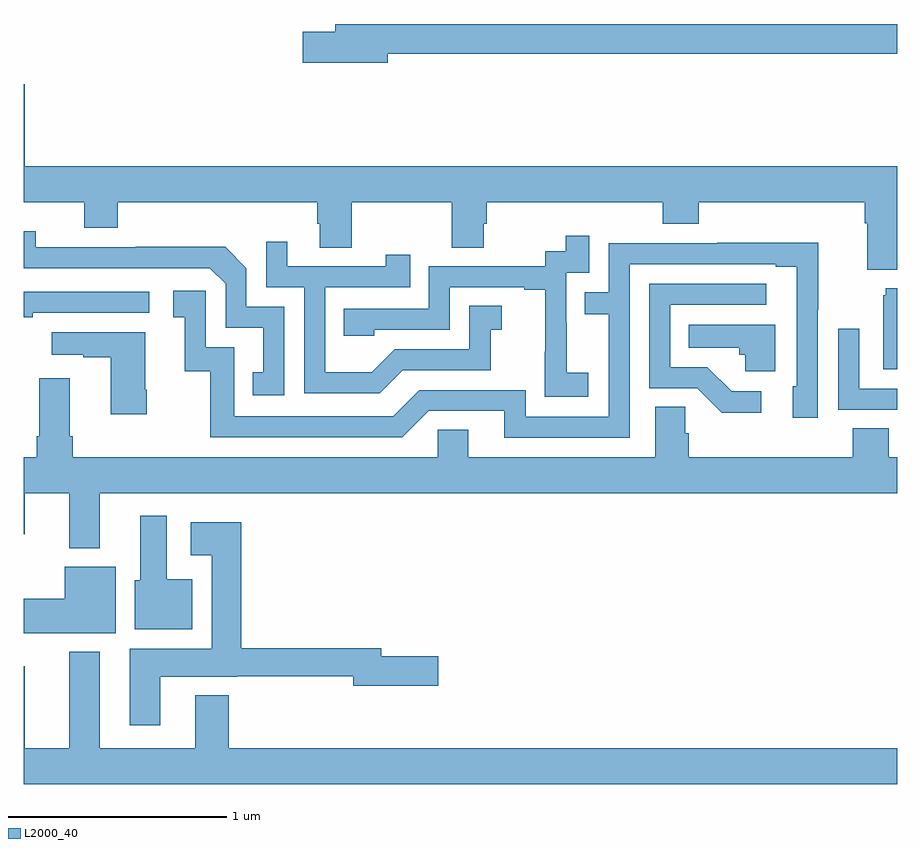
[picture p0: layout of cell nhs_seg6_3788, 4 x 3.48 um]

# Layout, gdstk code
import gdstk
lib = gdstk.Library(unit=1e-6, precision=1e-09)
def P(c, l, *ps):  # polygons
    for p in ps: c.add(gdstk.Polygon(p, *l))
L2000_40 = (2000, 40)

nhs_seg6_3788 = lib.new_cell('nhs_seg6_3788')
P(nhs_seg6_3788, L2000_40, [(334.666,997.3),(337,997.3),(337,997.436),(334.427,997.436),(334.427,997.4),(334.278,997.4),(334.278,997.258),(334.666,997.258)],
  [(337,996.784),(333.004,996.784),(333.004,997.159),(333,997.159),(333,996.62),(333.278,996.62),(333.278,996.503),(333.431,996.503),(333.431,996.62),(334.343,996.62),(334.343,996.522),(334.355,996.522),(334.355,996.412),(334.503,996.412),(334.503,996.62),(334.96,996.62),(334.96,996.412),(335.107,996.412),(335.107,996.522),(335.12,996.522),(335.12,996.62),(335.927,996.62),(335.927,996.521),(336.092,996.521),(336.092,996.62),(336.851,996.62),(336.851,996.524),(336.863,996.524),(336.863,996.311),(337,996.311)],
  [(334.194,996.141),(334.02,996.141),(334.02,996.318),(333.922,996.416),(333.514,996.416),(333.514,996.414),(333.054,996.414),(333.054,996.487),(333,996.487),(333,996.318),(333.852,996.318),(333.924,996.246),(333.924,996.045),(334.097,996.045),(334.097,995.841),(334.048,995.841),(334.048,995.736),(334.194,995.736)],
  [(335.584,995.839),(335.486,995.839),(335.486,996.068),(335.484,996.068),(335.484,996.297),(335.589,996.297),(335.589,996.466),(335.481,996.466),(335.481,996.396),(335.388,996.396),(335.388,996.327),(334.854,996.327),(334.854,996.132),(334.465,996.132),(334.465,996.009),(334.605,996.009),(334.605,996.036),(334.95,996.036),(334.95,996.231),(335.291,996.231),(335.291,996.219),(335.387,996.219),(335.387,995.935),(335.386,995.935),(335.386,995.729),(335.584,995.729)],
  [(334.735,995.85),(335.139,995.85),(335.139,996.035),(335.188,996.035),(335.188,996.145),(335.04,996.145),(335.04,995.946),(334.698,995.946),(334.594,995.842),(334.38,995.842),(334.38,996.231),(334.769,996.231),(334.769,996.379),(334.658,996.379),(334.658,996.327),(334.207,996.327),(334.207,996.439),(334.11,996.439),(334.11,996.231),(334.284,996.231),(334.284,995.745),(334.63,995.745)],
  [(335.775,996.336),(336.443,996.336),(336.443,996.324),(336.54,996.324),(336.54,995.778),(336.521,995.778),(336.521,995.634),(336.636,995.634),(336.636,996.127),(336.639,996.127),(336.639,996.434),(336.175,996.434),(336.175,996.432),(335.679,996.432),(335.679,996.207),(335.569,996.207),(335.569,996.106),(335.679,996.106),(335.679,995.637),(335.298,995.637),(335.298,995.76),(334.812,995.76),(334.692,995.64),(333.963,995.64),(333.963,995.955),(333.834,995.955),(333.834,996.214),(333.684,996.214),(333.684,996.093),(333.737,996.093),(333.737,995.847),(333.855,995.847),(333.855,995.544),(334.734,995.544),(334.854,995.664),(335.201,995.664),(335.201,995.541),(335.775,995.541)],
  [(336.376,995.754),(336.241,995.754),(336.13,995.865),(335.961,995.865),(335.961,996.15),(336.4,996.15),(336.4,996.246),(335.865,996.246),(335.865,995.769),(336.084,995.769),(336.197,995.657),(336.376,995.657)],
  [(337,996.226),(336.947,996.226),(336.947,996.195),(336.935,996.195),(336.935,995.855),(337,995.855)],
  [(333.041,996.114),(333.574,996.114),(333.574,996.21),(333,996.21),(333,996.094),(333.041,996.094)],
  [(336.442,996.058),(336.046,996.058),(336.046,995.954),(336.277,995.954),(336.277,995.922),(336.303,995.922),(336.303,995.846),(336.442,995.846)],
  [(337,995.766),(336.825,995.766),(336.825,996.04),(336.729,996.04),(336.729,995.67),(337,995.67)],
  [(333.564,995.761),(333.556,995.761),(333.556,996.025),(333.129,996.025),(333.129,995.921),(333.272,995.921),(333.272,995.911),(333.398,995.911),(333.398,995.649),(333.564,995.649)],
  [(333.349,995.288),(337,995.288),(337,995.452),(336.962,995.452),(336.962,995.585),(336.797,995.585),(336.797,995.452),(336.044,995.452),(336.044,995.561),(336.03,995.561),(336.03,995.684),(335.891,995.684),(335.891,995.452),(335.035,995.452),(335.035,995.579),(334.896,995.579),(334.896,995.452),(333.224,995.452),(333.224,995.548),(333.211,995.548),(333.211,995.815),(333.071,995.815),(333.071,995.548),(333.059,995.548),(333.059,995.452),(333,995.452),(333,995.1),(333.004,995.1),(333.004,995.288),(333.209,995.288),(333.209,995.036),(333.349,995.036)],
  [(333.772,994.894),(333.655,994.894),(333.655,995.185),(333.533,995.185),(333.533,994.89),(333.509,994.89),(333.509,994.664),(333.772,994.664)],
  [(333.625,994.448),(333.978,994.448),(333.978,994.449),(334.508,994.449),(334.508,994.406),(334.897,994.406),(334.897,994.541),(334.636,994.541),(334.636,994.577),(333.995,994.577),(333.995,995.155),(333.765,995.155),(333.765,995.003),(333.86,995.003),(333.86,994.576),(333.485,994.576),(333.485,994.224),(333.625,994.224)],
  [(333.421,994.951),(333.188,994.951),(333.188,994.804),(333,994.804),(333,994.646),(333.421,994.646)],
  [(333.785,994.363),(333.785,994.12),(333.349,994.12),(333.349,994.561),(333.209,994.561),(333.209,994.12),(333.004,994.12),(333.004,994.495),(333,994.495),(333,993.956),(337,993.956),(337,994.12),(333.938,994.12),(333.938,994.363)])

lib.write_gds('nhs_seg6_3788.gds')
